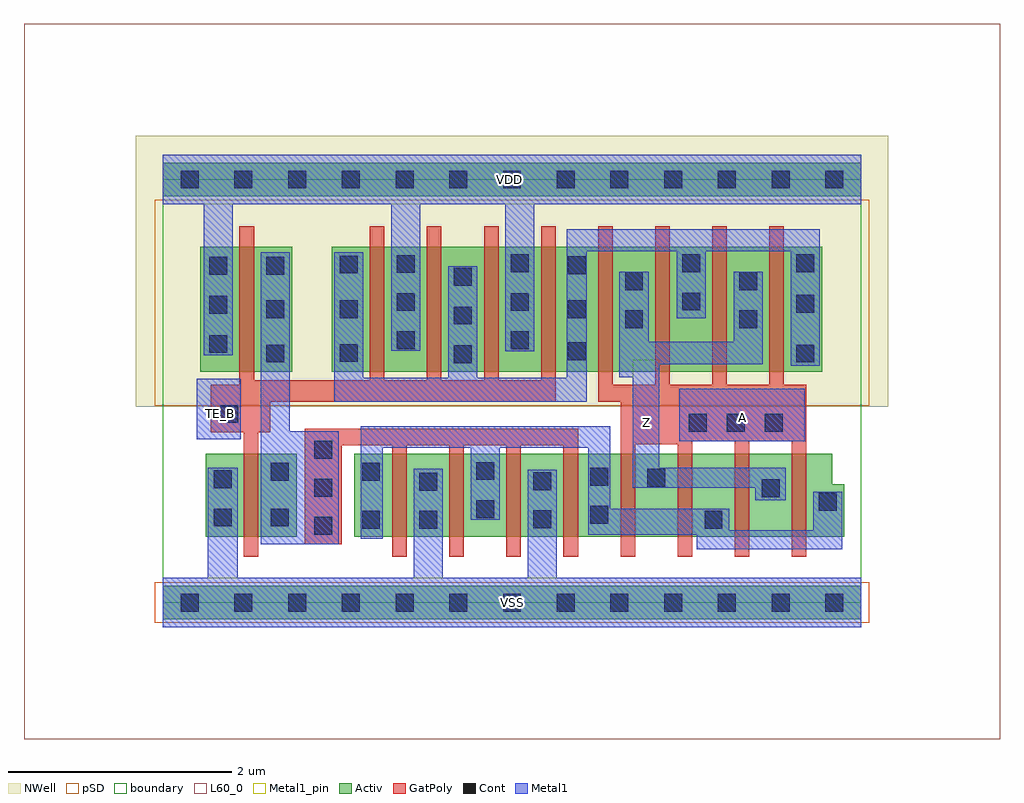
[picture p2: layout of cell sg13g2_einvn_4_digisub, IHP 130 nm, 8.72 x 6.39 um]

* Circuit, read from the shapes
.subckt sg13g2_einvn_4_digisub A TE_B VDD VSS Z
XM1 n1 TE_B VSS VSS sg13_lv_nmos w=0.74u l=0.13u
XM2 VSS n1 n2 VSS sg13_lv_nmos w=0.74u l=0.13u m=4
XM3 Z A n2 VSS sg13_lv_nmos w=0.74u l=0.13u m=4
XM4 n1 TE_B VDD VDD sg13_lv_pmos w=1.12u l=0.13u
XM5 VDD TE_B n3 VDD sg13_lv_pmos w=1.12u l=0.13u m=4
XM6 Z A n3 VDD sg13_lv_pmos w=1.12u l=0.13u m=4
.ends

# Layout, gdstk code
import gdstk
lib = gdstk.Library(unit=1e-6, precision=1e-09)
def R(c, l, rs):  # rectangles x0, y0, x1, y1
    for r in rs: c.add(gdstk.rectangle(r[:2], r[2:], *l))
def A(c, l, x, y, w, h, nx, ny, dx, dy):  # array of equal rectangles
    R(c, l, [(x+i*dx, y+j*dy, x+i*dx+w, y+j*dy+h) for i in range(nx) for j in range(ny)])
def P(c, l, *ps):  # polygons
    for p in ps: c.add(gdstk.Polygon(p, *l))
Activ = (1, 0)
GatPoly = (5, 0)
Cont = (6, 0)
Metal1 = (8, 0)
Metal1_pin = (8, 2)
pSD = (14, 0)
NWell = (31, 0)
L60_0 = (60, 0)
boundary = (189, 4)

sg13g2_einvn_4_digisub = lib.new_cell('sg13g2_einvn_4_digisub')
R(sg13g2_einvn_4_digisub, Activ, [(0,-0.15,6.24,0.15), (0.385,0.59,1.195,1.33), (0.335,2.06,1.155,3.18), (1.51,2.06,5.89,3.18), (0,3.63,6.24,3.93)])
P(sg13g2_einvn_4_digisub, Activ, [(6.09,1.055),(5.98,1.055),(5.98,1.33),(1.71,1.33),(1.71,0.59),(6.09,0.59)])
P(sg13g2_einvn_4_digisub, GatPoly, [(5.75,1.945),(5.55,1.945),(5.55,3.36),(5.42,3.36),(5.42,1.945),(5.04,1.945),(5.04,3.36),(4.91,3.36),(4.91,1.945),(4.53,1.945),(4.53,3.36),(4.4,3.36),(4.4,1.945),(4.02,1.945),(4.02,3.36),(3.89,3.36),(3.89,1.795),(4.09,1.795),(4.09,0.41),(4.22,0.41),(4.22,1.415),(4.6,1.415),(4.6,0.41),(4.73,0.41),(4.73,1.44),(5.11,1.44),(5.11,0.41),(5.24,0.41),(5.24,1.44),(5.62,1.44),(5.62,0.41),(5.75,0.41)],
  [(3.71,1.555),(1.27,1.555),(1.27,0.52),(1.6,0.52),(1.6,1.405),(2.05,1.405),(2.05,0.41),(2.18,0.41),(2.18,1.405),(2.56,1.405),(2.56,0.41),(2.69,0.41),(2.69,1.405),(3.07,1.405),(3.07,0.41),(3.2,0.41),(3.2,1.405),(3.58,1.405),(3.58,0.41),(3.71,0.41)],
  [(3.51,3.36),(3.38,3.36),(3.38,1.985),(3,1.985),(3,3.36),(2.87,3.36),(2.87,1.985),(2.49,1.985),(2.49,3.36),(2.36,3.36),(2.36,1.985),(1.98,1.985),(1.98,3.36),(1.85,3.36),(1.85,1.985),(0.815,1.985),(0.815,3.36),(0.685,3.36),(0.685,1.945),(0.43,1.945),(0.43,1.52),(0.725,1.52),(0.725,0.41),(0.855,0.41),(0.855,1.52),(0.96,1.52),(0.96,1.795),(3.51,1.795)])
A(sg13g2_einvn_4_digisub, Cont, 0.16, -0.08, 0.16, 0.16, 13, 2, 0.48, 3.78)
A(sg13g2_einvn_4_digisub, Cont, 1.355, 0.605, 0.16, 0.16, 1, 3, 0, 0.34)
A(sg13g2_einvn_4_digisub, Cont, 4.7, 1.525, 0.16, 0.16, 3, 1, 0.34, 0)
A(sg13g2_einvn_4_digisub, Cont, 2.6, 2.14, 0.16, 0.16, 1, 3, 0, 0.345)
A(sg13g2_einvn_4_digisub, Cont, 0.415, 2.23, 0.16, 0.16, 1, 3, 0, 0.35)
A(sg13g2_einvn_4_digisub, Cont, 2.09, 2.265, 0.16, 0.16, 1, 3, 0, 0.34)
R(sg13g2_einvn_4_digisub, Cont, [(1.78,0.66,1.94,0.82), (2.29,0.66,2.45,0.82), (4.84,0.66,5,0.82), (3.31,0.665,3.47,0.825), (0.455,0.68,0.615,0.84), (0.965,0.68,1.125,0.84), (3.82,0.705,3.98,0.865), (2.8,0.755,2.96,0.915), (5.86,0.82,6.02,0.98), (5.35,0.94,5.51,1.1), (2.29,1,2.45,1.16), (3.31,1.005,3.47,1.165), (0.455,1.02,0.615,1.18), (4.33,1.035,4.49,1.195), (3.82,1.045,3.98,1.205), (0.965,1.09,1.125,1.25), (1.78,1.09,1.94,1.25), (2.8,1.095,2.96,1.255), (0.515,1.605,0.675,1.765), (0.925,2.145,1.085,2.305), (5.66,2.145,5.82,2.305), (1.58,2.15,1.74,2.31), (3.62,2.165,3.78,2.325), (3.11,2.265,3.27,2.425), (4.13,2.45,4.29,2.61), (5.15,2.45,5.31,2.61), (0.925,2.54,1.085,2.7), (1.58,2.54,1.74,2.7), (3.62,2.54,3.78,2.7), (5.66,2.59,5.82,2.75), (3.11,2.605,3.27,2.765), (4.64,2.61,4.8,2.77), (4.13,2.79,4.29,2.95), (5.15,2.79,5.31,2.95), (0.925,2.93,1.085,3.09), (3.62,2.935,3.78,3.095), (1.58,2.94,1.74,3.1), (3.11,2.95,3.27,3.11), (4.64,2.95,4.8,3.11), (5.66,2.95,5.82,3.11)])
R(sg13g2_einvn_4_digisub, Metal1, [(4.615,1.44,5.735,1.91), (0.305,1.46,0.695,2)])
P(sg13g2_einvn_4_digisub, Metal1, [(6.24,0.22),(3.52,0.22),(3.52,1.185),(3.26,1.185),(3.26,0.22),(2.5,0.22),(2.5,1.195),(2.24,1.195),(2.24,0.22),(0.67,0.22),(0.67,1.205),(0.4,1.205),(0.4,0.22),(0,0.22),(0,-0.22),(6.24,-0.22)],
  [(6.24,4),(0,4),(0,3.56),(0.365,3.56),(0.365,2.21),(0.625,2.21),(0.625,3.56),(2.04,3.56),(2.04,2.25),(2.3,2.25),(2.3,3.56),(3.06,3.56),(3.06,2.245),(3.32,2.245),(3.32,3.56),(6.24,3.56)],
  [(6.07,0.99),(5.81,0.99),(5.81,0.645),(5.06,0.645),(5.06,0.84),(4,0.84),(4,1.575),(1.77,1.575),(1.77,0.57),(1.965,0.57),(1.965,1.385),(2.75,1.385),(2.75,0.74),(3.01,0.74),(3.01,1.385),(3.8,1.385),(3.8,0.605),(4.77,0.605),(4.77,0.475),(6.07,0.475)],
  [(5.87,3.335),(3.61,3.335),(3.61,2.01),(2.81,2.01),(2.81,3.005),(2.55,3.005),(2.55,2.01),(1.79,2.01),(1.79,3.13),(1.53,3.13),(1.53,1.795),(3.79,1.795),(3.79,3.14),(4.59,3.14),(4.59,2.54),(4.85,2.54),(4.85,3.14),(5.61,3.14),(5.61,2.115),(5.87,2.115)],
  [(5.565,1.205),(4.435,1.205),(4.435,2.13),(5.36,2.13),(5.36,2.955),(5.1,2.955),(5.1,2.33),(4.34,2.33),(4.34,2.955),(4.08,2.955),(4.08,2.015),(4.2,2.015),(4.2,1.025),(5.295,1.025),(5.295,0.915),(5.565,0.915)],
  [(1.57,1.53),(1.135,1.53),(1.135,3.13),(0.875,3.13),(0.875,0.52),(1.57,0.52)])
R(sg13g2_einvn_4_digisub, Metal1_pin, [(0,-0.22,6.24,0.22), (4.2,1.025,4.435,2.17), (4.615,1.44,5.735,1.91), (0.305,1.46,0.695,2), (0,3.56,6.24,4)])
R(sg13g2_einvn_4_digisub, pSD, [(-0.07,-0.18,6.31,0.18), (-0.07,1.76,6.31,3.6)])
R(sg13g2_einvn_4_digisub, NWell, [(-0.24,1.75,6.48,4.17)])
R(sg13g2_einvn_4_digisub, L60_0, [(-1.24,-1.22,7.48,5.17)])
R(sg13g2_einvn_4_digisub, boundary, [(0,0,6.24,3.78)])
sg13g2_einvn_4_digisub.add(gdstk.Label('A', (5.175,1.655), layer=8, texttype=25))
sg13g2_einvn_4_digisub.add(gdstk.Label('VSS', (3.12,0), layer=8, texttype=25))
sg13g2_einvn_4_digisub.add(gdstk.Label('VDD', (3.1,3.78), layer=8, texttype=25))
sg13g2_einvn_4_digisub.add(gdstk.Label('TE_B', (0.515,1.685), layer=8, texttype=25))
sg13g2_einvn_4_digisub.add(gdstk.Label('Z', (4.32,1.61), layer=8, texttype=25))

lib.write_gds('sg13g2_einvn_4_digisub.gds')
